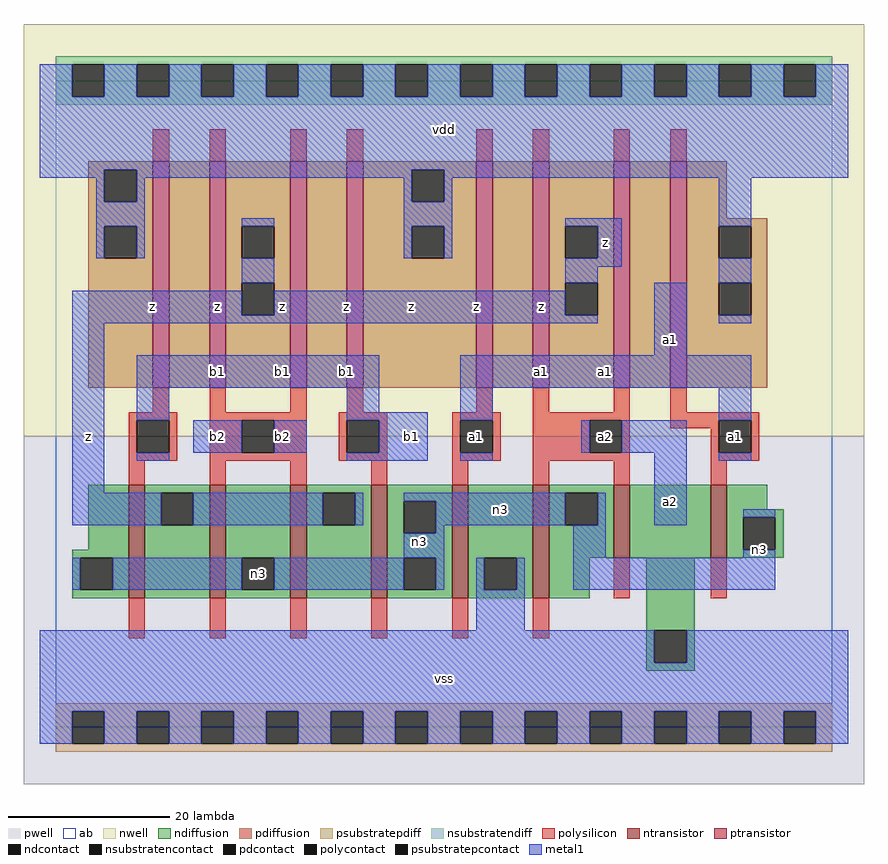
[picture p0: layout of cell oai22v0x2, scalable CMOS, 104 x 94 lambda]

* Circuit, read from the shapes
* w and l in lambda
.subckt oai22v0x2 a1 a2 b1 b2 n3 vdd vss z
M1 z b1 n3 vss nfet w=14 l=2 m=2
M2 n3 b2 z vss nfet w=14 l=2 m=2
M3 vss a1 n3 vss nfet w=14 l=2
M4 n3 a2 vss vss nfet w=14 l=2
M5 vss a2 n3 vss nfet w=9 l=2
M6 n3 a1 vss vss nfet w=9 l=2
M7 n1 b1 vdd vdd pfet w=28 l=2
M8 z b2 n1 vdd pfet w=28 l=2
M9 n2 b2 z vdd pfet w=28 l=2
M10 vdd b1 n2 vdd pfet w=28 l=2
M11 n4 a1 vdd vdd pfet w=28 l=2
M12 z a2 n4 vdd pfet w=28 l=2
M13 n5 a2 z vdd pfet w=28 l=2
M14 vdd a1 n5 vdd pfet w=28 l=2
.ends

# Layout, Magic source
magic
tech scmos
<< ab >>
rect 0 0 96 80
<< pwell >>
rect -4 -7 100 36
<< nwell >>
rect -4 36 100 87
<< polysilicon >>
rect 12 70 14 74
rect 19 70 21 74
rect 29 70 31 74
rect 36 70 38 74
rect 52 70 54 74
rect 59 70 61 74
rect 69 70 71 74
rect 76 70 78 74
rect 12 39 14 42
rect 19 39 21 42
rect 29 39 31 42
rect 36 39 38 42
rect 52 39 54 42
rect 59 39 61 42
rect 69 39 71 42
rect 9 38 15 39
rect 9 34 10 38
rect 14 34 15 38
rect 9 33 15 34
rect 19 38 31 39
rect 19 34 23 38
rect 27 34 31 38
rect 19 33 31 34
rect 35 38 41 39
rect 35 34 36 38
rect 40 34 41 38
rect 35 33 41 34
rect 9 30 11 33
rect 19 30 21 33
rect 29 30 31 33
rect 39 30 41 33
rect 49 38 55 39
rect 49 34 50 38
rect 54 34 55 38
rect 49 33 55 34
rect 59 38 71 39
rect 59 34 66 38
rect 70 34 71 38
rect 76 39 78 42
rect 76 38 87 39
rect 76 37 82 38
rect 59 33 71 34
rect 49 30 51 33
rect 59 30 61 33
rect 69 30 71 33
rect 81 34 82 37
rect 86 34 87 38
rect 81 33 87 34
rect 81 30 83 33
rect 69 16 71 21
rect 9 11 11 16
rect 19 11 21 16
rect 29 11 31 16
rect 39 11 41 16
rect 49 11 51 16
rect 59 11 61 16
rect 81 16 83 21
<< ndiffusion >>
rect 4 22 9 30
rect 2 21 9 22
rect 2 17 3 21
rect 7 17 9 21
rect 2 16 9 17
rect 11 29 19 30
rect 11 25 13 29
rect 17 25 19 29
rect 11 16 19 25
rect 21 21 29 30
rect 21 17 23 21
rect 27 17 29 21
rect 21 16 29 17
rect 31 29 39 30
rect 31 25 33 29
rect 37 25 39 29
rect 31 16 39 25
rect 41 28 49 30
rect 41 24 43 28
rect 47 24 49 28
rect 41 21 49 24
rect 41 17 43 21
rect 47 17 49 21
rect 41 16 49 17
rect 51 21 59 30
rect 51 17 53 21
rect 57 17 59 21
rect 51 16 59 17
rect 61 29 69 30
rect 61 25 63 29
rect 67 25 69 29
rect 61 21 69 25
rect 71 21 81 30
rect 83 27 88 30
rect 83 26 90 27
rect 83 22 85 26
rect 89 22 90 26
rect 83 21 90 22
rect 61 16 66 21
rect 73 12 79 21
rect 73 8 74 12
rect 78 8 79 12
rect 73 7 79 8
<< pdiffusion >>
rect 4 69 12 70
rect 4 65 6 69
rect 10 65 12 69
rect 4 62 12 65
rect 4 58 6 62
rect 10 58 12 62
rect 4 42 12 58
rect 14 42 19 70
rect 21 62 29 70
rect 21 58 23 62
rect 27 58 29 62
rect 21 55 29 58
rect 21 51 23 55
rect 27 51 29 55
rect 21 42 29 51
rect 31 42 36 70
rect 38 69 52 70
rect 38 65 44 69
rect 48 65 52 69
rect 38 62 52 65
rect 38 58 44 62
rect 48 58 52 62
rect 38 42 52 58
rect 54 42 59 70
rect 61 62 69 70
rect 61 58 63 62
rect 67 58 69 62
rect 61 55 69 58
rect 61 51 63 55
rect 67 51 69 55
rect 61 42 69 51
rect 71 42 76 70
rect 78 63 83 70
rect 78 62 88 63
rect 78 58 82 62
rect 86 58 88 62
rect 78 55 88 58
rect 78 51 82 55
rect 86 51 88 55
rect 78 42 88 51
<< metal1 >>
rect -2 78 2 82
rect 6 78 10 82
rect 14 78 18 82
rect 22 78 26 82
rect 30 78 34 82
rect 38 78 42 82
rect 46 78 50 82
rect 54 78 58 82
rect 62 78 66 82
rect 70 78 74 82
rect 78 78 82 82
rect 86 78 90 82
rect 94 78 98 82
rect -2 69 98 78
rect -2 68 6 69
rect 5 65 6 68
rect 10 68 44 69
rect 10 65 11 68
rect 5 62 11 65
rect 43 65 44 68
rect 48 68 98 69
rect 48 65 49 68
rect 5 58 6 62
rect 10 58 11 62
rect 23 62 27 63
rect 43 62 49 65
rect 43 58 44 62
rect 48 58 49 62
rect 63 62 70 63
rect 67 58 70 62
rect 23 55 27 58
rect 2 51 23 54
rect 63 57 70 58
rect 82 62 86 68
rect 63 55 67 57
rect 82 55 86 58
rect 27 51 63 54
rect 2 50 67 51
rect 2 29 6 50
rect 74 46 78 55
rect 82 50 86 51
rect 10 42 40 46
rect 10 38 14 42
rect 36 39 40 42
rect 50 42 86 46
rect 36 38 46 39
rect 17 34 23 38
rect 27 34 31 38
rect 40 34 46 38
rect 10 33 14 34
rect 36 33 46 34
rect 50 38 54 42
rect 82 38 86 42
rect 65 34 66 38
rect 70 34 78 38
rect 50 33 54 34
rect 2 25 13 29
rect 17 25 33 29
rect 37 25 38 29
rect 43 28 63 29
rect 47 25 63 28
rect 67 25 68 29
rect 74 25 78 34
rect 82 33 86 34
rect 85 26 89 27
rect 47 24 48 25
rect 43 21 48 24
rect 64 21 68 25
rect 85 21 89 22
rect 2 17 3 21
rect 7 17 23 21
rect 27 17 43 21
rect 47 17 48 21
rect 52 17 53 21
rect 57 17 58 21
rect 64 17 89 21
rect 52 12 58 17
rect -2 8 74 12
rect 78 8 98 12
rect -2 2 98 8
rect -2 -2 2 2
rect 6 -2 10 2
rect 14 -2 18 2
rect 22 -2 26 2
rect 30 -2 34 2
rect 38 -2 42 2
rect 46 -2 50 2
rect 54 -2 58 2
rect 62 -2 66 2
rect 70 -2 74 2
rect 78 -2 82 2
rect 86 -2 90 2
rect 94 -2 98 2
<< ntransistor >>
rect 9 16 11 30
rect 19 16 21 30
rect 29 16 31 30
rect 39 16 41 30
rect 49 16 51 30
rect 59 16 61 30
rect 69 21 71 30
rect 81 21 83 30
<< ptransistor >>
rect 12 42 14 70
rect 19 42 21 70
rect 29 42 31 70
rect 36 42 38 70
rect 52 42 54 70
rect 59 42 61 70
rect 69 42 71 70
rect 76 42 78 70
<< polycontact >>
rect 10 34 14 38
rect 23 34 27 38
rect 36 34 40 38
rect 50 34 54 38
rect 66 34 70 38
rect 82 34 86 38
<< ndcontact >>
rect 3 17 7 21
rect 13 25 17 29
rect 23 17 27 21
rect 33 25 37 29
rect 43 24 47 28
rect 43 17 47 21
rect 53 17 57 21
rect 63 25 67 29
rect 85 22 89 26
rect 74 8 78 12
<< pdcontact >>
rect 6 65 10 69
rect 6 58 10 62
rect 23 58 27 62
rect 23 51 27 55
rect 44 65 48 69
rect 44 58 48 62
rect 63 58 67 62
rect 63 51 67 55
rect 82 58 86 62
rect 82 51 86 55
<< psubstratepcontact >>
rect 2 -2 6 2
rect 10 -2 14 2
rect 18 -2 22 2
rect 26 -2 30 2
rect 34 -2 38 2
rect 42 -2 46 2
rect 50 -2 54 2
rect 58 -2 62 2
rect 66 -2 70 2
rect 74 -2 78 2
rect 82 -2 86 2
rect 90 -2 94 2
<< nsubstratencontact >>
rect 2 78 6 82
rect 10 78 14 82
rect 18 78 22 82
rect 26 78 30 82
rect 34 78 38 82
rect 42 78 46 82
rect 50 78 54 82
rect 58 78 62 82
rect 66 78 70 82
rect 74 78 78 82
rect 82 78 86 82
rect 90 78 94 82
<< psubstratepdiff >>
rect 0 2 96 3
rect 0 -2 2 2
rect 6 -2 10 2
rect 14 -2 18 2
rect 22 -2 26 2
rect 30 -2 34 2
rect 38 -2 42 2
rect 46 -2 50 2
rect 54 -2 58 2
rect 62 -2 66 2
rect 70 -2 74 2
rect 78 -2 82 2
rect 86 -2 90 2
rect 94 -2 96 2
rect 0 -3 96 -2
<< nsubstratendiff >>
rect 0 82 96 83
rect 0 78 2 82
rect 6 78 10 82
rect 14 78 18 82
rect 22 78 26 82
rect 30 78 34 82
rect 38 78 42 82
rect 46 78 50 82
rect 54 78 58 82
rect 62 78 66 82
rect 70 78 74 82
rect 78 78 82 82
rect 86 78 90 82
rect 94 78 96 82
rect 0 77 96 78
<< labels >>
rlabel metal1 4 36 4 36 6 z
rlabel metal1 12 52 12 52 6 z
rlabel metal1 20 36 20 36 6 b2
rlabel metal1 20 44 20 44 6 b1
rlabel metal1 28 36 28 36 6 b2
rlabel metal1 28 44 28 44 6 b1
rlabel metal1 28 52 28 52 6 z
rlabel metal1 20 52 20 52 6 z
rlabel metal1 48 6 48 6 6 vss
rlabel ndcontact 25 19 25 19 6 n3
rlabel metal1 45 23 45 23 6 n3
rlabel metal1 36 44 36 44 6 b1
rlabel metal1 44 36 44 36 6 b1
rlabel polycontact 52 36 52 36 6 a1
rlabel metal1 44 52 44 52 6 z
rlabel metal1 52 52 52 52 6 z
rlabel metal1 36 52 36 52 6 z
rlabel metal1 48 74 48 74 6 vdd
rlabel metal1 55 27 55 27 6 n3
rlabel metal1 76 28 76 28 6 a2
rlabel metal1 60 44 60 44 6 a1
rlabel polycontact 68 36 68 36 6 a2
rlabel metal1 68 44 68 44 6 a1
rlabel metal1 76 48 76 48 6 a1
rlabel metal1 60 52 60 52 6 z
rlabel metal1 68 60 68 60 6 z
rlabel metal1 87 22 87 22 6 n3
rlabel polycontact 84 36 84 36 6 a1
<< end >>
